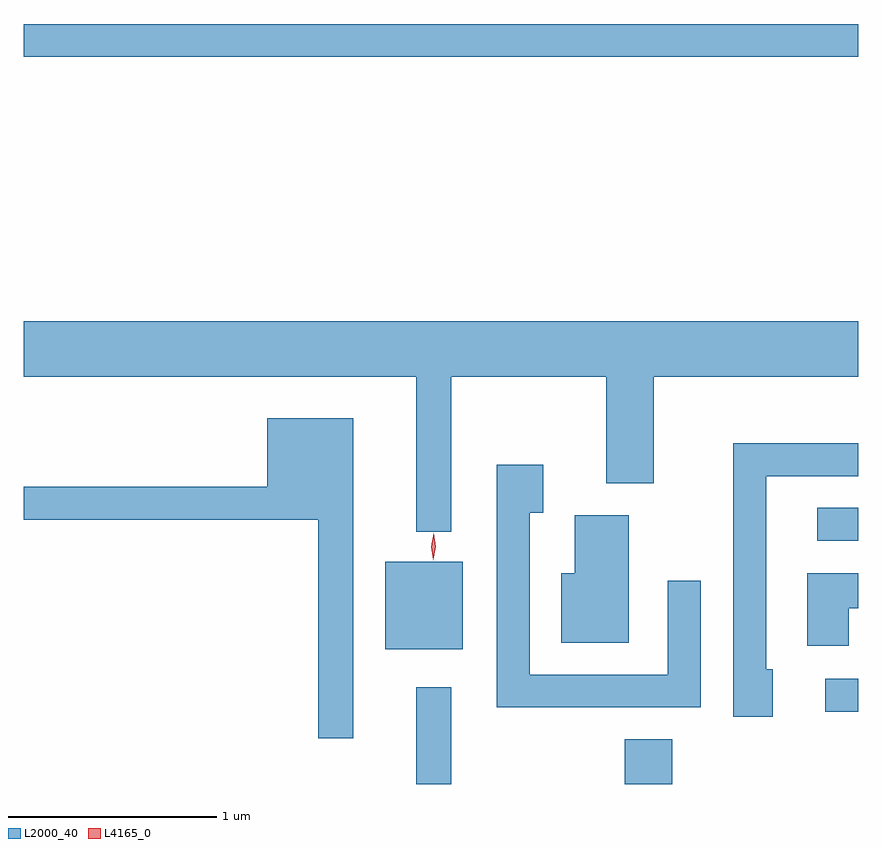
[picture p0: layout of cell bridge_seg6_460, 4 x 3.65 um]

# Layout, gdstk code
import gdstk
lib = gdstk.Library(unit=1e-6, precision=1e-09)
def R(c, l, rs):  # rectangles x0, y0, x1, y1
    for r in rs: c.add(gdstk.rectangle(r[:2], r[2:], *l))
def P(c, l, *ps):  # polygons
    for p in ps: c.add(gdstk.Polygon(p, *l))
L2000_40 = (2000, 40)
L4165_0 = (4165, 0)

bridge_seg6_460 = lib.new_cell('bridge_seg6_460')
R(bridge_seg6_460, L2000_40, [(645.211,1588.044,645.379,1588.508), (646.211,1588.044,646.439,1588.259), (647.173,1588.391,647.329,1588.549), (645.061,1588.691,645.434,1589.109), (647.133,1589.211,647.329,1589.369), (643.329,1591.531,647.329,1591.689)])
P(bridge_seg6_460, L2000_40, [(645.379,1589.996),(646.121,1589.996),(646.121,1589.486),(646.349,1589.486),(646.349,1589.996),(647.329,1589.996),(647.329,1590.264),(643.329,1590.264),(643.329,1589.996),(645.211,1589.996),(645.211,1589.253),(645.379,1589.253)],
  [(644.909,1589.799),(644.496,1589.799),(644.496,1589.469),(643.329,1589.469),(643.329,1589.311),(644.741,1589.311),(644.741,1588.263),(644.909,1588.263)],
  [(646.919,1588.594),(646.889,1588.594),(646.889,1589.521),(647.329,1589.521),(647.329,1589.679),(646.731,1589.679),(646.731,1588.366),(646.919,1588.366)],
  [(646.574,1589.018),(646.416,1589.018),(646.416,1588.569),(645.754,1588.569),(645.754,1589.346),(645.819,1589.346),(645.819,1589.574),(645.596,1589.574),(645.596,1588.411),(646.574,1588.411)],
  [(646.229,1589.334),(645.971,1589.334),(645.971,1589.054),(645.906,1589.054),(645.906,1588.721),(646.229,1588.721)],
  [(647.284,1588.886),(647.329,1588.886),(647.329,1589.054),(647.086,1589.054),(647.086,1588.706),(647.284,1588.706)])
P(bridge_seg6_460, L4165_0, [(645.292,1589.118),(645.291,1589.119),(645.283,1589.183),(645.294,1589.247),(645.294,1589.247),(645.295,1589.247),(645.303,1589.183),(645.292,1589.119)])

lib.write_gds('bridge_seg6_460.gds')
